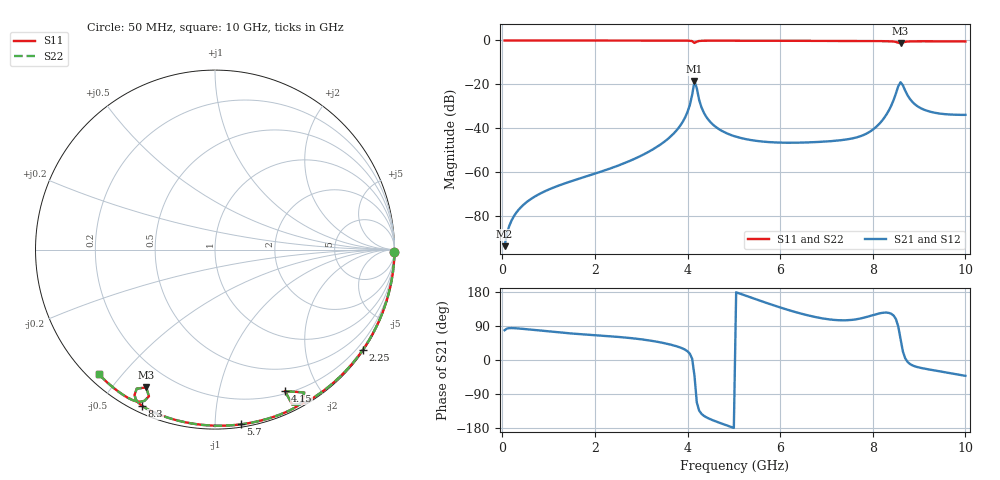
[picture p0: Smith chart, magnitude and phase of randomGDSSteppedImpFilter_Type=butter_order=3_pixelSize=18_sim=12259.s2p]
! freq	dB(S11)	phase(S11)	dB(S12)	phase(S12)
!  dB(S21)	phase(S21)	dB(S22)	phase(S22)
!S-par simulation data
#  GHz  S  DB  R 50
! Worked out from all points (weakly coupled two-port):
!   200 points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, 50 MHz to 10 GHz, reference 50 ohm
!   highest |S21| = -18.61 dB at 4.15 GHz (marker M1); lowest = -94.0 dB at 50 MHz (marker M2)
!   lowest |S11| = -1.3 dB at 8.6 GHz (marker M3), VSWR 13.11, Z = 5.26 - j30.7 ohm
!   |S11| at or under -10 dB: nowhere
!   |S22| runs from -1.3 to 0.0 dB; largest |S21 - S12| = 0
!   S11 on the Smith chart (normalised r, x): 50 MHz: open; 2.25 GHz: 0.03, -3.26; 4.15 GHz: 0.23, -1.59; 5.7 GHz: 0.02, -1.16; 8.3 GHz: 0.03, -0.64; 10 GHz: 0.03, -0.44
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0.05  -0.00 -0.8  -93.98 78.7  -93.98 78.7  -0.00 -0.8
0.25  -0.00 -3.9  -80.32 84.1  -80.32 84.1  -0.00 -3.9
0.9  -0.02 -13.8  -69.09 76.5  -69.09 76.5  -0.02 -13.8
1.75  -0.03 -26.6  -62.53 67.6  -62.53 67.6  -0.03 -26.6
2.25  -0.04 -34.1  -59.08 63.3  -59.08 63.3  -0.04 -34.1
3.4  -0.07 -50.9  -47.78 46.8  -47.78 46.8  -0.07 -50.9
3.9  -0.09 -58.5  -37.03 30.1  -37.03 30.1  -0.09 -58.5
4.05  -0.16 -61.7  -29.45 16.5  -29.45 16.5  -0.16 -61.6
4.15  -1.12 -63.7  -18.61 -41.3  -18.61 -41.3  -1.11 -63.7
4.3  -0.15 -61.5  -30.49 -141.9  -30.49 -141.9  -0.15 -61.5
4.45  -0.11 -64.3  -36.22 -153.9  -36.22 -153.9  -0.11 -64.3
5.05  -0.11 -72.9  -43.97 178.6  -43.97 178.6  -0.11 -72.9
5.7  -0.14 -81.6  -46.34 150.8  -46.34 150.8  -0.14 -81.6
6.7  -0.18 -94.4  -46.49 115.0  -46.49 115.0  -0.18 -94.4
7.75  -0.26 -107.5  -43.62 110.0  -43.62 110.0  -0.26 -107.5
8.05  -0.29 -111.3  -39.92 120.1  -39.92 120.1  -0.29 -111.3
8.3  -0.35 -114.9  -33.68 125.1  -33.68 125.1  -0.35 -114.9
8.35  -0.37 -115.8  -31.86 124.2  -31.86 124.2  -0.37 -115.8
8.6  -1.33 -116.5  -19.10 54.9  -19.10 54.9  -1.32 -116.5
8.8  -0.43 -117.2  -26.66 -10.3  -26.66 -10.3  -0.43 -117.2
9.05  -0.37 -121.2  -31.08 -21.2  -31.08 -21.2  -0.37 -121.2
10  -0.45 -132.9  -34.00 -41.8  -34.00 -41.8  -0.45 -132.9
